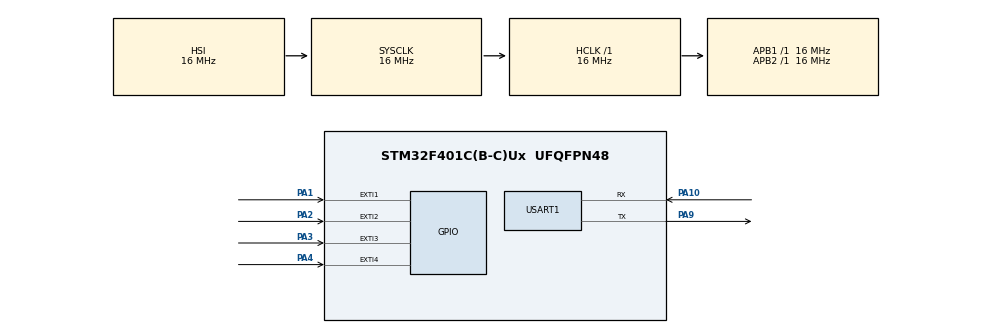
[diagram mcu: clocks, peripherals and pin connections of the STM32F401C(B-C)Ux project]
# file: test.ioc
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Dma.Request0=USART1_TX
Dma.USART1_TX.0.Direction=DMA_MEMORY_TO_PERIPH
Dma.USART1_TX.0.FIFOMode=DMA_FIFOMODE_DISABLE
Dma.USART1_TX.0.Instance=DMA2_Stream7
Dma.USART1_TX.0.MemDataAlignment=DMA_MDATAALIGN_BYTE
Dma.USART1_TX.0.MemInc=DMA_MINC_ENABLE
Dma.USART1_TX.0.Mode=DMA_NORMAL
Dma.USART1_TX.0.PeriphDataAlignment=DMA_PDATAALIGN_BYTE
Dma.USART1_TX.0.PeriphInc=DMA_PINC_DISABLE
Dma.USART1_TX.0.Priority=DMA_PRIORITY_LOW
Mcu.Family=STM32F4
Mcu.Name=STM32F401C(B-C)Ux
Mcu.Package=UFQFPN48
NVIC.DMA2_Stream7_IRQn=true\:0\:0\:false\:false\:true\:false\:true\:true
NVIC.EXTI1_IRQn=true\:0\:0\:false\:false\:true\:true\:true\:true
NVIC.EXTI2_IRQn=true\:0\:0\:false\:false\:true\:true\:true\:true
NVIC.EXTI3_IRQn=true\:0\:0\:false\:false\:true\:true\:true\:true
NVIC.EXTI4_IRQn=true\:0\:0\:false\:false\:true\:true\:true\:true
NVIC.PriorityGroup=NVIC_PRIORITYGROUP_4
PA1.GPIO_ModeDefaultEXTI=GPIO_MODE_IT_RISING
PA1.GPIO_PuPd=GPIO_PULLDOWN
PA1.Signal=GPXTI1
PA10.Mode=Asynchronous
PA10.Signal=USART1_RX
PA13.Mode=Serial_Wire
PA13.Signal=SYS_JTMS-SWDIO
PA14.Mode=Serial_Wire
PA14.Signal=SYS_JTCK-SWCLK
PA2.GPIO_ModeDefaultEXTI=GPIO_MODE_IT_RISING
PA2.GPIO_PuPd=GPIO_PULLDOWN
PA2.Signal=GPXTI2
PA3.GPIO_ModeDefaultEXTI=GPIO_MODE_IT_RISING
PA3.GPIO_PuPd=GPIO_PULLDOWN
PA3.Signal=GPXTI3
PA4.GPIO_ModeDefaultEXTI=GPIO_MODE_IT_RISING
PA4.GPIO_PuPd=GPIO_PULLDOWN
PA4.Signal=GPXTI4
PA9.Mode=Asynchronous
PA9.Signal=USART1_TX
PC14-OSC32_IN.Mode=LSE-External-Oscillator
PC14-OSC32_IN.Signal=RCC_OSC32_IN
PC15-OSC32_OUT.Mode=LSE-External-Oscillator
PC15-OSC32_OUT.Signal=RCC_OSC32_OUT
ProjectManager.HeapSize=0x200
ProjectManager.StackSize=0x400
ProjectManager.TargetToolchain=STM32CubeIDE
RCC.AHBFreq_Value=16000000
RCC.APB1Freq_Value=16000000
RCC.APB2Freq_Value=16000000
RCC.CortexFreq_Value=16000000
RCC.HSE_VALUE=25000000
RCC.HSI_VALUE=16000000
RCC.LSE_Timout=5000
RCC.PWR_Regulator_Voltage_Scale=PWR_REGULATOR_VOLTAGE_SCALE2
RCC.RCC_RTC_Clock_Source=RCC_RTCCLKSOURCE_LSE
RCC.SYSCLKFreq_VALUE=16000000
RCC.VCOOutputFreq_Value=192000000
USART1.VirtualMode=VM_ASYNC
VP_RTC_VS_RTC_Activate.Mode=RTC_Enabled
VP_RTC_VS_RTC_Calendar.Mode=RTC_Calendar
board=custom

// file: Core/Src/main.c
/* USER CODE BEGIN Header */
/**
  ******************************************************************************
  * @file           : main.c
  * @brief          : Main program body
  ******************************************************************************
  * @attention
  *
  * Copyright (c) 2024 STMicroelectronics.
  * All rights reserved.
  *
  * This software is licensed under terms that can be found in the LICENSE file
  * in the root directory of this software component.
  * If no LICENSE file comes with this software, it is provided AS-IS.
  *
  ******************************************************************************
  */
/* USER CODE END Header */
#include "main.h"
#include "dma.h"
#include "rtc.h"
#include "usart.h"
#include "gpio.h"

/* USER CODE BEGIN Includes */
#include <string.h>
#include <stdio.h>
/* USER CODE END Includes */

/* USER CODE BEGIN PV */
volatile rtc_set_clock_flag_t rtc_set_flag = RTC_SET;
volatile flag_t process_flag = FLAG_STANDBY;
uint8_t uart_rx_buf[RX_SIZE], uart_tx_buf[TX_SIZE];
RTC_TimeTypeDef rtc_time;
RTC_DateTypeDef date_time;
/* USER CODE END PV */

void SystemClock_Config(void);
/* USER CODE BEGIN PFP */
void display_rtc_to_serial(RTC_TimeTypeDef time, rtc_num_t type);
/* USER CODE END PFP */

int main(void)
{

  /* MCU Configuration--------------------------------------------------------*/

  /* Reset of all peripherals, Initializes the Flash interface and the Systick. */
  HAL_Init();

  /* Configure the system clock */
  SystemClock_Config();

  /* Initialize all configured peripherals */
  MX_GPIO_Init();
  MX_DMA_Init();
  MX_USART1_UART_Init();
  MX_RTC_Init();

  /* Infinite loop */
  /* USER CODE BEGIN WHILE */
  while (1)
  {
	  if (process_flag == FLAG_SHOW_CLOCK){
		  memset(uart_tx_buf, 0x0U, TX_SIZE);

		  HAL_RTC_WaitForSynchro(&hrtc);

		  if(HAL_RTC_GetDate(&hrtc, &date_time, RTC_FORMAT_BIN) != HAL_OK){
			  Error_Handler();
		  }
		  if(HAL_RTC_GetTime(&hrtc, &rtc_time, RTC_FORMAT_BIN) != HAL_OK){
			  Error_Handler();
		  }

		  HAL_RTC_WaitForSynchro(&hrtc);

		  display_rtc_to_serial(rtc_time, RTC_TYPE_DECIMAL);

		  clear_process_flag();
	  }

	  if (process_flag == FLAG_SET_CLOCK){
		  memset(uart_tx_buf, 0x0U, TX_SIZE);

		  rtc_set_flag += 1;

		  if (rtc_set_flag == RTC_SET_FLAG_MAX){
			  rtc_set_flag = RTC_SET;
		  }

		  if (rtc_set_flag == RTC_SET_HOUR){
			  sprintf((char *) uart_tx_buf, "==== SET HOUR ====\r\n");
		  }
		  else if (rtc_set_flag == RTC_SET_MIN){
			  sprintf((char *) uart_tx_buf, "==== SET MINUTES ====\r\n");
		  }
		  else if (rtc_set_flag == RTC_SET){
			  sprintf((char *) uart_tx_buf, "==== SETTING TIME ====\r\n");

			  HAL_RTC_WaitForSynchro(&hrtc);

			  if(HAL_RTC_SetDate(&hrtc, &date_time, RTC_FORMAT_BIN) != HAL_OK){
				  Error_Handler();
			  }
			  if(HAL_RTC_SetTime(&hrtc, &rtc_time, RTC_FORMAT_BIN) != HAL_OK){
				  Error_Handler();
			  }

			  HAL_RTC_WaitForSynchro(&hrtc);
		  }

		  HAL_UART_Transmit(&huart1, uart_tx_buf, strlen((char *) uart_tx_buf), HAL_MAX_DELAY);
		  clear_process_flag();

	  }

	  if (process_flag == FLAG_INC_TIME){
		  memset(uart_tx_buf, 0x0U, TX_SIZE);

		  if (rtc_set_flag == RTC_SET_HOUR){
			  rtc_time.Hours += 1;
			  if (rtc_time.Hours >= 24) rtc_time.Hours = 0;
			  HAL_Delay(10);
			  sprintf((char *)uart_tx_buf, "Hour: %d\r\n", rtc_time.Hours);
		  }

		  if (rtc_set_flag == RTC_SET_MIN){
			  rtc_time.Minutes += 1;
			  if (rtc_time.Minutes >= 60) rtc_time.Minutes = 0;
			  HAL_Delay(10);
			  sprintf((char *)uart_tx_buf, "Minutes: %d\r\n", rtc_time.Minutes);
		  }

		  HAL_UART_Transmit(&huart1, uart_tx_buf, strlen((char *) uart_tx_buf), HAL_MAX_DELAY);
		  clear_process_flag();

	  }

	  if (process_flag == FLAG_DEC_TIME){
		  if (rtc_set_flag == RTC_SET_HOUR){
			  rtc_time.Hours -= 1;
			  if (rtc_time.Hours >= 24) rtc_time.Hours = 23;
			  HAL_Delay(10);
			  sprintf((char *)uart_tx_buf, "Hour: %d\r\n", rtc_time.Hours);
		  }

		  if (rtc_set_flag == RTC_SET_MIN){
			  rtc_time.Minutes -= 1;
			  if (rtc_time.Minutes >= 60) rtc_time.Minutes = 59;
			  HAL_Delay(10);
			  sprintf((char *)uart_tx_buf, "Minutes: %d\r\n", rtc_time.Minutes);
		  }

		  HAL_UART_Transmit(&huart1, uart_tx_buf, strlen((char *) uart_tx_buf), HAL_MAX_DELAY);
		  clear_process_flag();

	  }
    /* USER CODE END WHILE */

  }
}

void SystemClock_Config(void)
{
  RCC_OscInitTypeDef RCC_OscInitStruct = {0};
  RCC_ClkInitTypeDef RCC_ClkInitStruct = {0};

  /** Configure the main internal regulator output voltage
  */
  __HAL_RCC_PWR_CLK_ENABLE();
  __HAL_PWR_VOLTAGESCALING_CONFIG(PWR_REGULATOR_VOLTAGE_SCALE2);

  /** Initializes the RCC Oscillators according to the specified parameters
  * in the RCC_OscInitTypeDef structure.
  */
  RCC_OscInitStruct.OscillatorType = RCC_OSCILLATORTYPE_HSI|RCC_OSCILLATORTYPE_LSE;
  RCC_OscInitStruct.LSEState = RCC_LSE_ON;
  RCC_OscInitStruct.HSIState = RCC_HSI_ON;
  RCC_OscInitStruct.HSICalibrationValue = RCC_HSICALIBRATION_DEFAULT;
  RCC_OscInitStruct.PLL.PLLState = RCC_PLL_NONE;
  if (HAL_RCC_OscConfig(&RCC_OscInitStruct) != HAL_OK)
  {
    Error_Handler();
  }

  /** Initializes the CPU, AHB and APB buses clocks
  */
  RCC_ClkInitStruct.ClockType = RCC_CLOCKTYPE_HCLK|RCC_CLOCKTYPE_SYSCLK
                              |RCC_CLOCKTYPE_PCLK1|RCC_CLOCKTYPE_PCLK2;
  RCC_ClkInitStruct.SYSCLKSource = RCC_SYSCLKSOURCE_HSI;
  RCC_ClkInitStruct.AHBCLKDivider = RCC_SYSCLK_DIV1;
  RCC_ClkInitStruct.APB1CLKDivider = RCC_HCLK_DIV1;
  RCC_ClkInitStruct.APB2CLKDivider = RCC_HCLK_DIV1;

  if (HAL_RCC_ClockConfig(&RCC_ClkInitStruct, FLASH_LATENCY_0) != HAL_OK)
  {
    Error_Handler();
  }
}

/* USER CODE BEGIN 4 */
void display_rtc_to_serial(RTC_TimeTypeDef time, rtc_num_t type){
	if (type == RTC_TYPE_BCD){
		sprintf((char *)uart_tx_buf,
			  "Time: %d:%d:%d\n",
			  RTC_Bcd2ToByte(time.Hours),
			  RTC_Bcd2ToByte(time.Minutes),
			  RTC_Bcd2ToByte(time.Seconds)
	    );
	}
	else if (type == RTC_TYPE_DECIMAL){
		sprintf((char *)uart_tx_buf,
			  "Time: %d:%d:%d\n",
			  time.Hours,
			  time.Minutes,
			  time.Seconds
		);
	}

	HAL_UART_Transmit(&huart1, uart_tx_buf, strlen((char *)uart_tx_buf), HAL_MAX_DELAY);
}

//void increment_time(){
//
//}
/* USER CODE END 4 */

void Error_Handler(void)
{
  __disable_irq();
  while (1)
  {
  }
}
